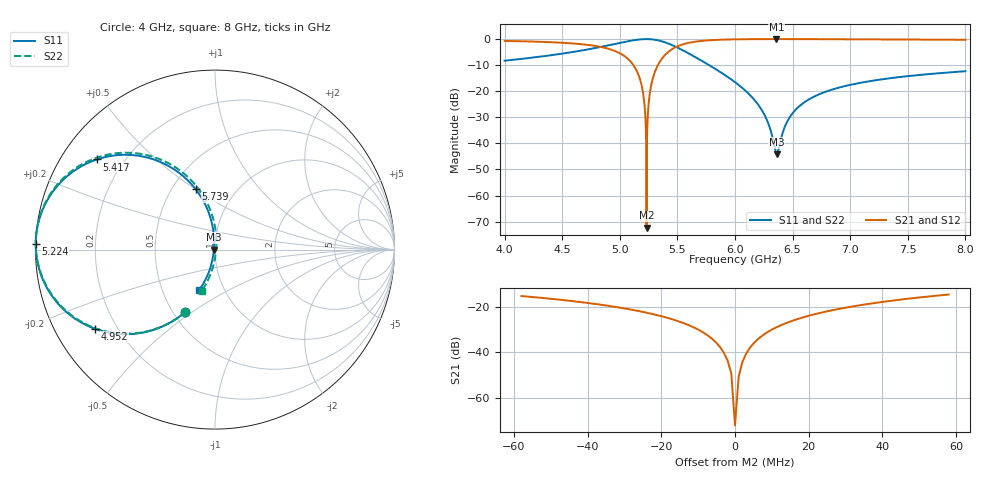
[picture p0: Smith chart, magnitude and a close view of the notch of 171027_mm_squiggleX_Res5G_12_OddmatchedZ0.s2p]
! Sonnet Data File
! From: emgraph Version : 16.52
! From Emgraph Data: 171027_mm_squiggleX_Res5G_12_Odd2
! Data File Written: 11/08/2017 10:12:21
!< HDATE 10/28/2017 16:08:10
!< MDATE 10/28/2017 16:08:10
!< PARAMS
!< dCr = 12.0
!< Squiggle_length = 16.0
!< END PARAMS
# GHZ S MA R 190.3000
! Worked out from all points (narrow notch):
!   4001 points, 4 GHz to 8 GHz, reference 190.3 ohm
!   highest |S21| = 0.00 dB at 6.359 GHz (marker M1); lowest = -72.3 dB at 5.232 GHz (marker M2)
!   notch at M2: 72.1 dB deep, 9.78 MHz wide at half that depth
!   lowest |S11| = -44.1 dB at 6.363 GHz (marker M3), VSWR 1.01, Z = 188 + j0.166 ohm
!   |S11| at or under -10 dB: 5.776 GHz to end of sweep
!   |S22| runs from -43.9 to 0.0 dB; largest |S21 - S12| = 0
!   S11 on the Smith chart (normalised r, x): 4 GHz: 0.58, -0.47; 4.952 GHz: 0.12, -0.30; 5.224 GHz: 0.00, +0.02; 5.417 GHz: 0.10, +0.33; 5.739 GHz: 0.65, +0.50; 8 GHz: 0.76, -0.36
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4  0.3848 -115.5  0.923 -25.5  0.923 -25.5  0.3848 -115.5
!< P1 F=4.0 Eeff=(7.27450281 -3.3551e-5) Z0=(190.292401 4.38669e-4) R=0.0 C=0.0
!< P2 F=4.0 Eeff=(7.27450281 -3.3551e-5) Z0=(190.292401 4.38669e-4) R=0.0 C=0.0
4.667  0.6027 -130.3  0.7979 -40.4  0.7979 -40.4  0.6026 -130.5
4.952  0.8017 -146.6  0.5975 -56.8  0.5975 -56.8  0.8017 -147.1
5.153  0.9732 -170.0  0.2298 -80.4  0.2298 -80.4  0.9732 -170.7
5.196  0.9939 -177.0  0.1101 -87.4  0.1101 -87.4  0.9939 -177.8
5.224  0.9996 178.1  0.02528 -92.2  0.02528 -92.2  0.9996 177.3
5.232  1 176.7  0.0002426 -84.7  0.0002426 -84.7  1 175.9
5.246  0.999 174.1  0.04423 83.7  0.04423 83.7  0.999 173.3
5.259  0.9962 171.7  0.0861 81.3  0.0861 81.3  0.9962 170.9
5.275  0.9904 168.7  0.1381 78.3  0.1381 78.3  0.9904 167.9
5.334  0.9449 157.6  0.3273 67.1  0.3273 67.1  0.9449 156.6
5.417  0.8294 142.8  0.5587 52.2  0.5587 52.2  0.8294 141.6
5.573  0.5684 121.5  0.8228 30.7  0.8228 30.7  0.5684 119.8
5.739  0.3531 107.8  0.9357 16.6  0.9357 16.6  0.353 105.3
6  0.1496 96.8  0.9889 4.3  0.9889 4.3  0.1495 91.7
6.234  0.04307 96.4  0.9992 -2.0  0.9992 -2.0  0.04292 79.3
6.359  0.00633 165.1  1 -4.5  1 -4.5  0.006479 3.9
6.363  0.006225 175.9  1 -4.6  1 -4.6  0.006413 -6.8
6.479  0.03265 -107.5  0.9996 -6.5  0.9996 -6.5  0.03289 -85.3
6.667  0.07503 -103.9  0.9972 -9.1  0.9972 -9.1  0.07528 -94.2
7.334  0.1764 -107.7  0.9843 -15.5  0.9843 -15.5  0.1766 -103.2
8  0.242 -111.7  0.9703 -19.8  0.9703 -19.8  0.242 -108.0
